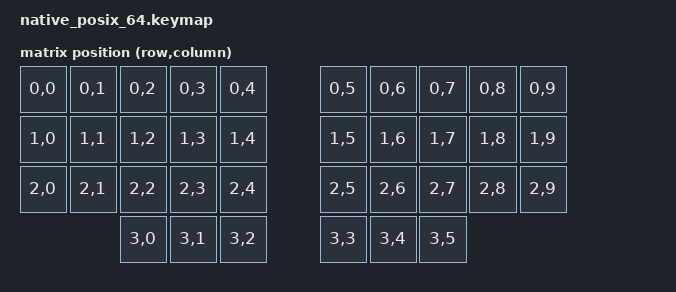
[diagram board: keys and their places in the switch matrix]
#include <dt-bindings/zmk/matrix_transform.h>
#include <dt-bindings/zmk/kscan_mock.h>

/ {
    chosen {
        zmk,matrix-transform = &transform;
    };

    /* op36 position N is RC(N/10, N%10); thumbs 30..35 are row 3. */
    transform: keymap_transform {
        compatible = "zmk,matrix-transform";
        columns = <10>;
        rows = <4>;
        map = <
            RC(0,0) RC(0,1) RC(0,2) RC(0,3) RC(0,4) RC(0,5) RC(0,6) RC(0,7) RC(0,8) RC(0,9)
            RC(1,0) RC(1,1) RC(1,2) RC(1,3) RC(1,4) RC(1,5) RC(1,6) RC(1,7) RC(1,8) RC(1,9)
            RC(2,0) RC(2,1) RC(2,2) RC(2,3) RC(2,4) RC(2,5) RC(2,6) RC(2,7) RC(2,8) RC(2,9)
            RC(3,0) RC(3,1) RC(3,2) RC(3,3) RC(3,4) RC(3,5)
        >;
    };
};&kscan {
    rows = <4>;
    columns = <10>;
    events = <
        /* lead-in so require-prior-idle-ms sees real idle time */
        ZMK_MOCK_PRESS(0,1,10)
        ZMK_MOCK_RELEASE(0,1,400)

        /* hold Space (pos 31) past the tapping term to raise numbers */
        ZMK_MOCK_PRESS(3,1,300)

        /* pos 26 -> 1 */
        ZMK_MOCK_PRESS(2,6,30)
        ZMK_MOCK_RELEASE(2,6,30)

        /* pos 3 -> Prev Win, Ctrl+Cmd+Shift+/ */
        ZMK_MOCK_PRESS(0,3,30)
        ZMK_MOCK_RELEASE(0,3,30)

        /* pos 1 -> Term, Opt+Ctrl+Cmd+Shift+2 */
        ZMK_MOCK_PRESS(0,1,30)
        ZMK_MOCK_RELEASE(0,1,30)

        /* left Cmd (pos 13) held over pos 16 -> Cmd+4 */
        ZMK_MOCK_PRESS(1,3,30)
        ZMK_MOCK_PRESS(1,6,30)
        ZMK_MOCK_RELEASE(1,6,30)
        ZMK_MOCK_RELEASE(1,3,30)

        /* Position 11 is the layer's Shift, and it is a plain &kp now that
           Escape lives on the thumbs: pressed and released on its own it is
           0xE1 going down and up, with no keycode of its own. */
        ZMK_MOCK_PRESS(1,1,30)
        ZMK_MOCK_RELEASE(1,1,30)

        ZMK_MOCK_RELEASE(3,1,400)

        /* Space still taps */
        ZMK_MOCK_PRESS(3,1,50)
        ZMK_MOCK_RELEASE(3,1,100)
    >;
};

#include "/cfg/op36_ruen.keymap"
